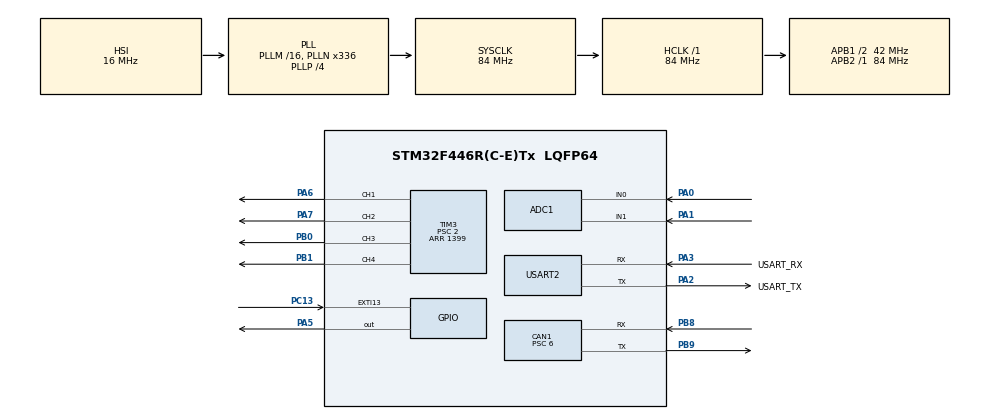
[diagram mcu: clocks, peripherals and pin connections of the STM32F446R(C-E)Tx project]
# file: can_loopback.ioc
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ADC1.Channel-0\#ChannelRegularConversion=ADC_CHANNEL_0
ADC1.Channel-1\#ChannelRegularConversion=ADC_CHANNEL_1
ADC1.NbrOfConversion=2
ADC1.NbrOfConversionFlag=1
ADC1.Rank-0\#ChannelRegularConversion=1
ADC1.Rank-1\#ChannelRegularConversion=2
ADC1.SamplingTime-0\#ChannelRegularConversion=ADC_SAMPLETIME_84CYCLES
ADC1.SamplingTime-1\#ChannelRegularConversion=ADC_SAMPLETIME_84CYCLES
ADC1.ScanConvMode=ENABLE
ADC1.master=1
CAN1.BS1=CAN_BS1_11TQ
CAN1.BS2=CAN_BS2_2TQ
CAN1.CalculateBaudRate=500000
CAN1.CalculateTimeBit=2000
CAN1.CalculateTimeQuantum=142.85714285714286
CAN1.Mode=CAN_MODE_NORMAL
CAN1.NART=ENABLE
CAN1.Prescaler=6
Mcu.Family=STM32F4
Mcu.Name=STM32F446R(C-E)Tx
Mcu.Package=LQFP64
NUCLEO-F446RE.BUTTON=1
NUCLEO-F446RE.LD1=true
NVIC.EXTI15_10_IRQn=true\:0\:0\:false\:false\:true\:false\:true\:true
NVIC.PriorityGroup=NVIC_PRIORITYGROUP_0
PA0-WKUP.Signal=ADCx_IN0
PA1.Signal=ADCx_IN1
PA13.GPIO_Label=TMS
PA13.Signal=SYS_JTMS-SWDIO
PA14.GPIO_Label=TCK
PA14.Signal=SYS_JTCK-SWCLK
PA2.GPIO_Label=USART_TX
PA2.Mode=Asynchronous
PA2.Signal=USART2_TX
PA3.GPIO_Label=USART_RX
PA3.Mode=Asynchronous
PA3.Signal=USART2_RX
PA5.Signal=GPIO_Output
PA6.Signal=S_TIM3_CH1
PA7.Signal=S_TIM3_CH2
PB0.Signal=S_TIM3_CH3
PB1.Signal=S_TIM3_CH4
PB3.GPIO_Label=SWO
PB3.Signal=SYS_JTDO-SWO
PB8.Mode=CAN_Activate
PB8.Signal=CAN1_RX
PB9.Mode=CAN_Activate
PB9.Signal=CAN1_TX
PC13.Signal=GPXTI13
PC14-OSC32_IN.Signal=RCC_OSC32_IN
PC15-OSC32_OUT.Signal=RCC_OSC32_OUT
PH0-OSC_IN.Signal=RCC_OSC_IN
PH1-OSC_OUT.Signal=RCC_OSC_OUT
ProjectManager.HeapSize=0x200
ProjectManager.StackSize=0x400
ProjectManager.TargetToolchain=STM32CubeIDE
RCC.AHBFreq_Value=84000000
RCC.APB1CLKDivider=RCC_HCLK_DIV2
RCC.APB1Freq_Value=42000000
RCC.APB1TimFreq_Value=84000000
RCC.APB2Freq_Value=84000000
RCC.APB2TimFreq_Value=84000000
RCC.CortexFreq_Value=84000000
RCC.FLatency-AdvancedSettings=FLASH_LATENCY_2
RCC.HCLKFreq_Value=84000000
RCC.HSE_VALUE=8000000
RCC.HSI_VALUE=16000000
RCC.LSE_VALUE=32768
RCC.PLLN=336
RCC.PLLP=RCC_PLLP_DIV4
RCC.SYSCLKFreq_VALUE=84000000
RCC.SYSCLKSource=RCC_SYSCLKSOURCE_PLLCLK
RCC.USBFreq_Value=168000000
RCC.VCOOutputFreq_Value=336000000
SH.ADCx_IN0.0=ADC1_IN0,IN0
SH.ADCx_IN1.0=ADC1_IN1,IN1
SH.S_TIM3_CH1.0=TIM3_CH1,PWM Generation1 CH1
SH.S_TIM3_CH2.0=TIM3_CH2,PWM Generation2 CH2
SH.S_TIM3_CH3.0=TIM3_CH3,PWM Generation3 CH3
SH.S_TIM3_CH4.0=TIM3_CH4,PWM Generation4 CH4
TIM3.Channel-PWM\ Generation1\ CH1=TIM_CHANNEL_1
TIM3.Channel-PWM\ Generation2\ CH2=TIM_CHANNEL_2
TIM3.Channel-PWM\ Generation3\ CH3=TIM_CHANNEL_3
TIM3.Channel-PWM\ Generation4\ CH4=TIM_CHANNEL_4
TIM3.Period=1399
TIM3.Prescaler=2
USART2.VirtualMode=VM_ASYNC
VP_NUCLEO-F446RE_VS_BSP_COMMON.Mode=COMMON
board=NUCLEO-F446RE

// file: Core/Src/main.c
/* USER CODE BEGIN Header */
/**
  ******************************************************************************
  * @file           : main.c
  * @brief          : Main program body
  ******************************************************************************
  * @attention
  *
  * Copyright (c) 2026 STMicroelectronics.
  * All rights reserved.
  *
  * This software is licensed under terms that can be found in the LICENSE file
  * in the root directory of this software component.
  * If no LICENSE file comes with this software, it is provided AS-IS.
  *
  ******************************************************************************
  */
/* USER CODE END Header */
#include "main.h"
#include <stdio.h>
#include <string.h>

/* USER CODE BEGIN PD */
#define ADC_AVG_SAMPLES 32U
#define PWM_ARR_VALUE   1399U
#define PI_KP            0.5f
#define PI_KI            0.1f
#define PI_INTEGRAL_MAX  10.0f
#define PI_DUTY_MIN      0.05f
#define PI_DUTY_MAX      0.95f
/* 1: PA1 observation only; all PWM stays at zero, no 0x200 telemetry.
 * 0: legacy potentiometer bench mode, NOT calibrated ACS758 control. */
#ifndef ADC_RAW_TEST_MODE
#define ADC_RAW_TEST_MODE 1U
#endif
#define ADC_TEST_VREF_MV  3300U
/* USER CODE END PD */

ADC_HandleTypeDef hadc1;

CAN_HandleTypeDef hcan1;

TIM_HandleTypeDef htim3;

UART_HandleTypeDef huart2;

/* USER CODE BEGIN PV */
CAN_RxHeaderTypeDef rxHeader;
uint8_t rxData[8];
char msg[128];
uint32_t last_heartbeat_tick;
uint8_t heartbeat_timeout_reported;
CAN_TxHeaderTypeDef feedbackHeader;
uint32_t feedbackMailbox;
uint8_t feedbackData[8];
uint8_t safe_mode = 0;
uint8_t fault_code = 0;
volatile int32_t pv_power_w = 0;
volatile float vbus_v = 24.0f;
volatile float ibus_a = 0.0f;
static float pi_integral = 0.0f;
static uint32_t last_pi_tick = 0;
/* USER CODE END PV */

void SystemClock_Config(void);
static void MX_GPIO_Init(void);
static void MX_CAN1_Init(void);
static void MX_USART2_UART_Init(void);
static void MX_ADC1_Init(void);
static void MX_TIM3_Init(void);

/* USER CODE BEGIN 0 */

static void Report_PA1_Raw(void)
{
  uint32_t sum = 0U;
  uint32_t minimum = 4095U;
  uint32_t maximum = 0U;
  uint32_t count = 0U;
  uint32_t errors = 0U;

  for (uint32_t i = 0U; i < ADC_AVG_SAMPLES; i++)
  {
    if (HAL_ADC_Start(&hadc1) != HAL_OK)
    {
      HAL_ADC_Stop(&hadc1);
      errors++;
      continue;
    }
    if (HAL_ADC_PollForConversion(&hadc1, 2U) != HAL_OK)
    {
      HAL_ADC_Stop(&hadc1);
      errors++;
      continue;
    }
    uint32_t raw = HAL_ADC_GetValue(&hadc1);
    if (HAL_ADC_Stop(&hadc1) != HAL_OK)
    {
      errors++;
      continue;
    }
    sum += raw;
    if (raw < minimum) minimum = raw;
    if (raw > maximum) maximum = raw;
    count++;
  }

  if (count == 0U)
  {
    snprintf(msg, sizeof(msg), "PA1 ADC_ERROR n=0 err=%lu safe=%u fault=%u\r\n",
             (unsigned long)errors, (unsigned int)safe_mode,
             (unsigned int)fault_code);
  }
  else
  {
    uint32_t average = (sum + count / 2U) / count;
    uint32_t denominator = count * 4095U;
    uint32_t millivolts = (sum * ADC_TEST_VREF_MV + denominator / 2U)
                         / denominator;
    snprintf(msg, sizeof(msg),
             "PA1 avg=%lu min=%lu max=%lu mV=%lu n=%lu err=%lu safe=%u fault=%u\r\n",
             (unsigned long)average, (unsigned long)minimum,
             (unsigned long)maximum, (unsigned long)millivolts,
             (unsigned long)count, (unsigned long)errors,
             (unsigned int)safe_mode, (unsigned int)fault_code);
  }
  HAL_UART_Transmit(&huart2, (uint8_t *)msg, (uint16_t)strlen(msg), 100U);
}

static void Read_Adc_Feedback(void)
{
  uint32_t vbus_raw;
  uint32_t ibus_raw;
  uint32_t vbus10;
  uint32_t ibus10;

  if (HAL_ADC_Start(&hadc1) != HAL_OK)
  {
    return;
  }

  if (HAL_ADC_PollForConversion(&hadc1, 2) != HAL_OK)
  {
    HAL_ADC_Stop(&hadc1);
    return;
  }
  vbus_raw = HAL_ADC_GetValue(&hadc1);

  if (HAL_ADC_PollForConversion(&hadc1, 2) != HAL_OK)
  {
    HAL_ADC_Stop(&hadc1);
    return;
  }
  ibus_raw = HAL_ADC_GetValue(&hadc1);
  HAL_ADC_Stop(&hadc1);

  /* PA0: 0-3.3 V is used as a 0-33.0 V simulated bus voltage. */
  vbus10 = (vbus_raw * 330U + 2047U) / 4095U;
  vbus_v = (float)vbus10 / 10.0f;
  if (vbus_v < 1.0f)
  {
    vbus_v = 1.0f;
  }

  /* PA1: 0-3.3 V is used as a 0-10.0 A simulated current. */
  ibus10 = (ibus_raw * 100U + 2047U) / 4095U;
  ibus_a = (float)ibus10 / 10.0f;
}

static void Update_Single_Channel_PI(void)
{
  uint32_t now;
  float target_current;
  float error;
  float duty;

  now = HAL_GetTick();
  if ((now - last_pi_tick) < 1U)
  {
    return;
  }
  last_pi_tick = now;

  Read_Adc_Feedback();

  if ((safe_mode != 0U) || (pv_power_w <= 0))
  {
    pi_integral = 0.0f;
    __HAL_TIM_SET_COMPARE(&htim3, TIM_CHANNEL_1, 0U);
    return;
  }

  target_current = (float)pv_power_w / vbus_v;
  if (target_current > 10.0f)
  {
    target_current = 10.0f;
  }

  error = target_current - ibus_a;
  pi_integral += error * 0.001f;
  if (pi_integral > PI_INTEGRAL_MAX)
  {
    pi_integral = PI_INTEGRAL_MAX;
  }
  if (pi_integral < -PI_INTEGRAL_MAX)
  {
    pi_integral = -PI_INTEGRAL_MAX;
  }

  duty = PI_KP * error + PI_KI * pi_integral;
  if (duty < PI_DUTY_MIN)
  {
    duty = PI_DUTY_MIN;
  }
  if (duty > PI_DUTY_MAX)
  {
    duty = PI_DUTY_MAX;
  }

  __HAL_TIM_SET_COMPARE(&htim3,
                        TIM_CHANNEL_1,
                        (uint32_t)(duty * (float)PWM_ARR_VALUE));
}

/* USER CODE END 0 */

int main(void)
{

  /* MCU Configuration--------------------------------------------------------*/

  /* Reset of all peripherals, Initializes the Flash interface and the Systick. */
  HAL_Init();

  /* Configure the system clock */
  SystemClock_Config();

  /* Initialize all configured peripherals */
  MX_GPIO_Init();
  MX_CAN1_Init();
  MX_USART2_UART_Init();
  MX_ADC1_Init();
  MX_TIM3_Init();
  /* USER CODE BEGIN 2 */
  last_heartbeat_tick = HAL_GetTick();
  heartbeat_timeout_reported = 0;
  CAN_FilterTypeDef filter = {0};

  filter.FilterBank = 0;
  filter.FilterMode = CAN_FILTERMODE_IDMASK;
  filter.FilterScale = CAN_FILTERSCALE_32BIT;
  filter.FilterIdHigh = 0;
  filter.FilterIdLow = 0;
  filter.FilterMaskIdHigh = 0;
  filter.FilterMaskIdLow = 0;
  filter.FilterFIFOAssignment = CAN_RX_FIFO0;
  filter.FilterActivation = ENABLE;
  filter.SlaveStartFilterBank = 14;

  if (HAL_CAN_ConfigFilter(&hcan1, &filter) != HAL_OK)
  {
    strcpy(msg, "FILTER ERROR\r\n");
    HAL_UART_Transmit(&huart2,
                      (uint8_t *)msg,
                      strlen(msg),
                      1000);
  }

  if (HAL_CAN_Start(&hcan1) != HAL_OK)
  {
    strcpy(msg, "CAN START ERROR\r\n");
    HAL_UART_Transmit(&huart2,
                      (uint8_t *)msg,
                      strlen(msg),
                      1000);
  }

  strcpy(msg, "RECEIVER READY\r\n");
  HAL_UART_Transmit(&huart2,
                    (uint8_t *)msg,
                    strlen(msg),
                    1000);

  HAL_TIM_PWM_Start(&htim3, TIM_CHANNEL_1);
  HAL_TIM_PWM_Start(&htim3, TIM_CHANNEL_2);
  HAL_TIM_PWM_Start(&htim3, TIM_CHANNEL_3);
  HAL_TIM_PWM_Start(&htim3, TIM_CHANNEL_4);

  __HAL_TIM_SET_COMPARE(&htim3, TIM_CHANNEL_1, 0);
  __HAL_TIM_SET_COMPARE(&htim3, TIM_CHANNEL_2, 0);
  __HAL_TIM_SET_COMPARE(&htim3, TIM_CHANNEL_3, 0);
  __HAL_TIM_SET_COMPARE(&htim3, TIM_CHANNEL_4, 0);
  if (ADC_RAW_TEST_MODE != 0U)
  {
    strcpy(msg, "ADC RAW TEST: PA1 only, Vref=3300mV assumed, PWM=OFF, 0x200=OFF\r\n");
    HAL_UART_Transmit(&huart2, (uint8_t *)msg, (uint16_t)strlen(msg), 100U);
  }
  /* USER CODE END 2 */

  /* Initialize leds */
  BSP_LED_Init(LED2);

  /* Initialize USER push-button, will be used to trigger an interrupt each time it's pressed.*/
  BSP_PB_Init(BUTTON_USER, BUTTON_MODE_EXTI);

  /* Infinite loop */
  while (1)
  {

    /* USER CODE BEGIN 3 */
	  static uint32_t last_200_tick = 0;
	 	  uint32_t now = HAL_GetTick();

	 	  now = HAL_GetTick();
	 	 if (safe_mode == 0)
	 	 {
	 	  // 原来的接收0x100、0x101、0x102代码
	 	  if (HAL_CAN_GetRxFifoFillLevel(&hcan1, CAN_RX_FIFO0) > 0)
	 	    {
	 	      if (HAL_CAN_GetRxMessage(&hcan1,
	 	                               CAN_RX_FIFO0,
	 	                               &rxHeader,
	 	                               rxData) == HAL_OK)
	 	      {
	 	        if (rxHeader.StdId == 0x100)
	 	        {

	 	          int16_t code_batt;
	 	          int16_t code_fc;
	 	          int16_t code_el;
	 	          int32_t p_batt;
	 	          int32_t p_fc;
	 	          int32_t p_el;

	 	          code_batt = (int16_t)(((uint16_t)rxData[0] << 8) | rxData[1]);
	 	          code_fc   = (int16_t)(((uint16_t)rxData[2] << 8) | rxData[3]);
	 	          code_el   = (int16_t)(((uint16_t)rxData[4] << 8) | rxData[5]);

	 	          p_batt = ((int32_t)code_batt * 200) / 30000;
	 	          p_fc   = ((int32_t)code_fc * 150) / 30000;
	 	          p_el   = ((int32_t)code_el * 200) / 30000;

	 	         int32_t batt_abs;
	 	         uint32_t ccr_batt;
	 	         uint32_t ccr_fc;

	 	        batt_abs = p_batt;

	 	        if (batt_abs < 0)
	 	        {
	 	          batt_abs = 0;
	 	        }

	 	         if (batt_abs > 200)
	 	         {
	 	           batt_abs = 200;
	 	         }

	 	         if (p_fc < 0)
	 	         {
	 	           p_fc = 0;
	 	         }

	 	         if (p_fc > 150)
	 	         {
	 	           p_fc = 150;
	 	         }

	 	         ccr_batt = ((uint32_t)batt_abs * 1399U) / 200U;
	 	         ccr_fc = ((uint32_t)p_fc * 1399U) / 150U;

	 	         /* CH2=燃料电池，CH3=电池 */
                 if (ADC_RAW_TEST_MODE == 0U)
                 {
                   __HAL_TIM_SET_COMPARE(&htim3,TIM_CHANNEL_2,ccr_fc);
                   __HAL_TIM_SET_COMPARE(&htim3,TIM_CHANNEL_3, ccr_batt);
                 }

	 	          snprintf(msg,
	 	                   sizeof(msg),
	 	                   "0x100 Batt=%ldW FC=%ldW EL=%ldW Seq=%u\r\n",
	 	                   (long)p_batt,
	 	                   (long)p_fc,
	 	                   (long)p_el,
	 	                   (unsigned int)rxData[7]);

	 	          HAL_UART_Transmit(&huart2,
	 	                            (uint8_t *)msg,
	 	                            strlen(msg),
	 	                            1000);
	 	        }
	 	        else if (rxHeader.StdId == 0x102)
	 	        {
	 	          int16_t code_pv;
	 	          int16_t code_wind;
	 	          int32_t p_pv;
	 	          int32_t p_wind;

	 	          code_pv = (int16_t)(((uint16_t)rxData[0] << 8) | rxData[1]);
	 	          code_wind = (int16_t)(((uint16_t)rxData[2] << 8) | rxData[3]);

	 	          p_pv = ((int32_t)code_pv * 300) / 30000;
	 	          p_wind = ((int32_t)code_wind * 200) / 30000;

	 	         if (p_pv < 0)
	 	         {
	 	           p_pv = 0;
	 	         }
	 	         if (p_pv > 300)
	 	         {
	 	           p_pv = 300;
	 	         }

	 	         if (p_wind < 0)
	 	         {
	 	           p_wind = 0;
	 	         }
	 	         if (p_wind > 200)
	 	         {
	 	           p_wind = 200;
	 	         }

	 	         /* 弃光、弃风标志 */
	 	         if (rxData[6] & 0x01)
	 	         {
	 	           p_pv = 0;
	 	         }

	 	         if (rxData[6] & 0x02)
	 	         {
	 	           p_wind = 0;
	 	         }

	 	        /* CH1=光伏，由单路PI控制；CH4=风电，暂时保持开环 */
	 	        pv_power_w = p_pv;
                if (ADC_RAW_TEST_MODE == 0U)
                {
                  __HAL_TIM_SET_COMPARE(&htim3,TIM_CHANNEL_4,((uint32_t)p_wind * 1399U) / 200U);
                }

	 	          snprintf(msg,
	 	                   sizeof(msg),
	 	                   "0x102 PV=%ldW Wind=%ldW Curt=0x%02X Seq=%u\r\n",
	 	                   (long)p_pv,
	 	                   (long)p_wind,
	 	                   (unsigned int)rxData[6],
	 	                   (unsigned int)rxData[7]);

	 	          HAL_UART_Transmit(&huart2,
	 	                            (uint8_t *)msg,
	 	                            strlen(msg),
	 	                            1000);
	 	        }
	 	        else if ((rxHeader.StdId == 0x101) &&
	 	                 (rxData[3] == 0xAA))
	 	        {
	 	        	last_heartbeat_tick = HAL_GetTick();
	 	        	heartbeat_timeout_reported = 0;

	 	        	safe_mode = 0;
	 	        	fault_code = 0;

	 	        	strcpy(msg, "HEARTBEAT OK\r\n");
	 	        	HAL_UART_Transmit(&huart2,
	 	        	                  (uint8_t *)msg,
	 	        	                  (uint16_t)strlen(msg),
	 	        	                  1000);
	 	        }

	 	      }
	 	    }
	 	}
	 	else
	 	{
	 	  __HAL_TIM_SET_COMPARE(&htim3, TIM_CHANNEL_1, 0);
	 	  __HAL_TIM_SET_COMPARE(&htim3, TIM_CHANNEL_2, 0);
	 	  __HAL_TIM_SET_COMPARE(&htim3, TIM_CHANNEL_3, 0);
	 	  __HAL_TIM_SET_COMPARE(&htim3, TIM_CHANNEL_4, 0);
	 	}

	 	/* 每约1ms运行一次单路PI：PA1反馈，PA6输出 */
        if (ADC_RAW_TEST_MODE == 0U)
        {
          Update_Single_Channel_PI();
        }

	 	// 0x200发送代码
	 	if ((now - last_200_tick) >= 250U)
	 	{
	 		last_200_tick = now;

            if (ADC_RAW_TEST_MODE != 0U)
            {
              Report_PA1_Raw();
            }
            else
            {
	 		uint32_t vbus_sum = 0;
	 		uint32_t ibus_sum = 0;
	 		uint32_t vbus_raw;
	 		uint32_t ibus_raw;
	 		uint32_t vbus10;
	 		uint32_t ibus10;
	 		int32_t vbus_code;
	 		int32_t ibus_code;
	 		uint32_t sample_count = 0;
	 		uint32_t i;

	 		for (i = 0; i < ADC_AVG_SAMPLES; i++)
	 		{
	 		  if (HAL_ADC_Start(&hadc1) != HAL_OK)
	 		  {
	 		    continue;
	 		  }

	 		  /* Rank 1：PA0，模拟母线电压 */
	 		  if (HAL_ADC_PollForConversion(&hadc1, 100) == HAL_OK)
	 		  {
	 		    vbus_sum += HAL_ADC_GetValue(&hadc1);
	 		  }
	 		  else
	 		  {
	 		    HAL_ADC_Stop(&hadc1);
	 		    continue;
	 		  }

	 		  /* Rank 2：PA1，模拟电流 */
	 		  if (HAL_ADC_PollForConversion(&hadc1, 100) == HAL_OK)
	 		  {
	 		    ibus_sum += HAL_ADC_GetValue(&hadc1);
	 		    sample_count++;
	 		  }

	 		  HAL_ADC_Stop(&hadc1);
	 		}

	 		if (sample_count == 0U)
	 		{
	 		  sample_count = 1U;
	 		}

	 		vbus_raw = vbus_sum / sample_count;
	 		ibus_raw = ibus_sum / sample_count;

	 		/* PA0：0~3.3V模拟0~33.0V */
	 		vbus10 = (vbus_raw * 330U + 2047U) / 4095U;
	 		vbus_code = (int32_t)vbus10 - 150;

	 		if (vbus_code < 0)
	 		{
	 		  vbus_code = 0;
	 		}

	 		if (vbus_code > 255)
	 		{
	 		  vbus_code = 255;
	 		}

	 		/*
	 		 * PA1：暂时模拟0~10.0A
	 		 * ibus10单位为0.1A
	 		 */
	 		ibus10 = (ibus_raw * 100U + 2047U) / 4095U;

	 		/*
	 		 * 0x200 Ibus_raw = round(Ibus * 5) + 127
	 		 */
	 		ibus_code = 127 + (int32_t)((ibus10 + 1U) / 2U);

	 		if (ibus_code < 0)
	 		{
	 		  ibus_code = 0;
	 		}

	 		if (ibus_code > 255)
	 		{
	 		  ibus_code = 255;
	 		}

	 	  feedbackHeader.StdId = 0x200;
	 	  feedbackHeader.ExtId = 0;
	 	  feedbackHeader.IDE = CAN_ID_STD;
	 	  feedbackHeader.RTR = CAN_RTR_DATA;
	 	  feedbackHeader.DLC = 8;
	 	  feedbackHeader.TransmitGlobalTime = DISABLE;

	 	  feedbackData[0] = 0x55;
	 	  feedbackData[1] = (uint8_t)vbus_code;
	 	  feedbackData[2] = (uint8_t)ibus_code;
	 	  feedbackData[3] = 0;
	 	  feedbackData[4] = 0;
	 	  feedbackData[5] = 50;

	 	  if (fault_code != 0U)
	 	  {
	 	    feedbackData[6] = 0x0A;
	 	  }
	 	  else
	 	  {
	 	    feedbackData[6] = 0x00;
	 	  }

	 	  feedbackData[7] = fault_code;

	 	  if (HAL_CAN_GetTxMailboxesFreeLevel(&hcan1) > 0)
	 	  {
	 	    HAL_CAN_AddTxMessage(&hcan1,
	 	                         &feedbackHeader,
	 	                         feedbackData,
	 	                         &feedbackMailbox);
	 	  }
            }
	 	}
	 	  // 原来的心跳超时检测
	 	 if ((HAL_GetTick() - last_heartbeat_tick > 1000U) &&
	 	     (heartbeat_timeout_reported == 0))
	 	 {
	 	   heartbeat_timeout_reported = 1;
	 	   safe_mode = 1;
	 	   fault_code = 5;

	 	   __HAL_TIM_SET_COMPARE(&htim3, TIM_CHANNEL_1, 0);
	 	   __HAL_TIM_SET_COMPARE(&htim3, TIM_CHANNEL_2, 0);
	 	   __HAL_TIM_SET_COMPARE(&htim3, TIM_CHANNEL_3, 0);
	 	   __HAL_TIM_SET_COMPARE(&htim3, TIM_CHANNEL_4, 0);

	 	   strcpy(msg, "HEARTBEAT TIMEOUT\r\n");

	 	   HAL_UART_Transmit(&huart2,
	 	                     (uint8_t *)msg,
	 	                     (uint16_t)strlen(msg),
	 	                     1000);
	 	 }

	 	    HAL_Delay(1);
  }
  /* USER CODE END 3 */
}

void SystemClock_Config(void)
{
  RCC_OscInitTypeDef RCC_OscInitStruct = {0};
  RCC_ClkInitTypeDef RCC_ClkInitStruct = {0};

  /** Configure the main internal regulator output voltage
  */
  __HAL_RCC_PWR_CLK_ENABLE();
  __HAL_PWR_VOLTAGESCALING_CONFIG(PWR_REGULATOR_VOLTAGE_SCALE3);

  /** Initializes the RCC Oscillators according to the specified parameters
  * in the RCC_OscInitTypeDef structure.
  */
  RCC_OscInitStruct.OscillatorType = RCC_OSCILLATORTYPE_HSI;
  RCC_OscInitStruct.HSIState = RCC_HSI_ON;
  RCC_OscInitStruct.HSICalibrationValue = RCC_HSICALIBRATION_DEFAULT;
  RCC_OscInitStruct.PLL.PLLState = RCC_PLL_ON;
  RCC_OscInitStruct.PLL.PLLSource = RCC_PLLSOURCE_HSI;
  RCC_OscInitStruct.PLL.PLLM = 16;
  RCC_OscInitStruct.PLL.PLLN = 336;
  RCC_OscInitStruct.PLL.PLLP = RCC_PLLP_DIV4;
  RCC_OscInitStruct.PLL.PLLQ = 2;
  RCC_OscInitStruct.PLL.PLLR = 2;
  if (HAL_RCC_OscConfig(&RCC_OscInitStruct) != HAL_OK)
  {
    Error_Handler();
  }

  /** Initializes the CPU, AHB and APB buses clocks
  */
  RCC_ClkInitStruct.ClockType = RCC_CLOCKTYPE_HCLK|RCC_CLOCKTYPE_SYSCLK
                              |RCC_CLOCKTYPE_PCLK1|RCC_CLOCKTYPE_PCLK2;
  RCC_ClkInitStruct.SYSCLKSource = RCC_SYSCLKSOURCE_PLLCLK;
  RCC_ClkInitStruct.AHBCLKDivider = RCC_SYSCLK_DIV1;
  RCC_ClkInitStruct.APB1CLKDivider = RCC_HCLK_DIV2;
  RCC_ClkInitStruct.APB2CLKDivider = RCC_HCLK_DIV1;

  if (HAL_RCC_ClockConfig(&RCC_ClkInitStruct, FLASH_LATENCY_2) != HAL_OK)
  {
    Error_Handler();
  }
}

static void MX_ADC1_Init(void)
{

  ADC_ChannelConfTypeDef sConfig = {0};

  /** Configure the global features of the ADC (Clock, Resolution, Data Alignment and number of conversion)
  */
  hadc1.Instance = ADC1;
  hadc1.Init.ClockPrescaler = ADC_CLOCK_SYNC_PCLK_DIV4;
  hadc1.Init.Resolution = ADC_RESOLUTION_12B;
  hadc1.Init.ScanConvMode = ENABLE;
  hadc1.Init.ContinuousConvMode = DISABLE;
  hadc1.Init.DiscontinuousConvMode = DISABLE;
  hadc1.Init.ExternalTrigConvEdge = ADC_EXTERNALTRIGCONVEDGE_NONE;
  hadc1.Init.ExternalTrigConv = ADC_SOFTWARE_START;
  hadc1.Init.DataAlign = ADC_DATAALIGN_RIGHT;
  hadc1.Init.NbrOfConversion = 2;
  hadc1.Init.DMAContinuousRequests = DISABLE;
  hadc1.Init.EOCSelection = ADC_EOC_SINGLE_CONV;
  if (HAL_ADC_Init(&hadc1) != HAL_OK)
  {
    Error_Handler();
  }

  /** Configure for the selected ADC regular channel its corresponding rank in the sequencer and its sample time.
  */
  sConfig.Channel = ADC_CHANNEL_0;
  sConfig.Rank = 1;
  sConfig.SamplingTime = ADC_SAMPLETIME_84CYCLES;
  if (HAL_ADC_ConfigChannel(&hadc1, &sConfig) != HAL_OK)
  {
    Error_Handler();
  }

  /** Configure for the selected ADC regular channel its corresponding rank in the sequencer and its sample time.
  */
  sConfig.Channel = ADC_CHANNEL_1;
  sConfig.Rank = 2;
  if (HAL_ADC_ConfigChannel(&hadc1, &sConfig) != HAL_OK)
  {
    Error_Handler();
  }
  /* USER CODE BEGIN ADC1_Init 2 */

  if (ADC_RAW_TEST_MODE != 0U)
  {
    /* A single rank avoids scan-register overwrite during polling.
     * Keep the CubeMX dual-channel setup above for the legacy bench mode. */
    hadc1.Init.ScanConvMode = DISABLE;
    hadc1.Init.NbrOfConversion = 1;
    if (HAL_ADC_Init(&hadc1) != HAL_OK)
    {
      Error_Handler();
    }
    sConfig.Channel = ADC_CHANNEL_1;
    sConfig.Rank = 1;
    if (HAL_ADC_ConfigChannel(&hadc1, &sConfig) != HAL_OK)
    {
      Error_Handler();
    }
  }

  /* USER CODE END ADC1_Init 2 */

}

static void MX_CAN1_Init(void)
{

  hcan1.Instance = CAN1;
  hcan1.Init.Prescaler = 6;
  hcan1.Init.Mode = CAN_MODE_NORMAL;
  hcan1.Init.SyncJumpWidth = CAN_SJW_1TQ;
  hcan1.Init.TimeSeg1 = CAN_BS1_11TQ;
  hcan1.Init.TimeSeg2 = CAN_BS2_2TQ;
  hcan1.Init.TimeTriggeredMode = DISABLE;
  hcan1.Init.AutoBusOff = DISABLE;
  hcan1.Init.AutoWakeUp = DISABLE;
  hcan1.Init.AutoRetransmission = ENABLE;
  hcan1.Init.ReceiveFifoLocked = DISABLE;
  hcan1.Init.TransmitFifoPriority = DISABLE;
  if (HAL_CAN_Init(&hcan1) != HAL_OK)
  {
    Error_Handler();
  }

}

static void MX_TIM3_Init(void)
{

  TIM_MasterConfigTypeDef sMasterConfig = {0};
  TIM_OC_InitTypeDef sConfigOC = {0};

  htim3.Instance = TIM3;
  htim3.Init.Prescaler = 2;
  htim3.Init.CounterMode = TIM_COUNTERMODE_UP;
  htim3.Init.Period = 1399;
  htim3.Init.ClockDivision = TIM_CLOCKDIVISION_DIV1;
  htim3.Init.AutoReloadPreload = TIM_AUTORELOAD_PRELOAD_DISABLE;
  if (HAL_TIM_PWM_Init(&htim3) != HAL_OK)
  {
    Error_Handler();
  }
  sMasterConfig.MasterOutputTrigger = TIM_TRGO_RESET;
  sMasterConfig.MasterSlaveMode = TIM_MASTERSLAVEMODE_DISABLE;
  if (HAL_TIMEx_MasterConfigSynchronization(&htim3, &sMasterConfig) != HAL_OK)
  {
    Error_Handler();
  }
  sConfigOC.OCMode = TIM_OCMODE_PWM1;
  sConfigOC.Pulse = 0;
  sConfigOC.OCPolarity = TIM_OCPOLARITY_HIGH;
  sConfigOC.OCFastMode = TIM_OCFAST_DISABLE;
  if (HAL_TIM_PWM_ConfigChannel(&htim3, &sConfigOC, TIM_CHANNEL_1) != HAL_OK)
  {
    Error_Handler();
  }
  if (HAL_TIM_PWM_ConfigChannel(&htim3, &sConfigOC, TIM_CHANNEL_2) != HAL_OK)
  {
    Error_Handler();
  }
  if (HAL_TIM_PWM_ConfigChannel(&htim3, &sConfigOC, TIM_CHANNEL_3) != HAL_OK)
  {
    Error_Handler();
  }
  if (HAL_TIM_PWM_ConfigChannel(&htim3, &sConfigOC, TIM_CHANNEL_4) != HAL_OK)
  {
    Error_Handler();
  }
  HAL_TIM_MspPostInit(&htim3);

}

static void MX_USART2_UART_Init(void)
{

  huart2.Instance = USART2;
  huart2.Init.BaudRate = 115200;
  huart2.Init.WordLength = UART_WORDLENGTH_8B;
  huart2.Init.StopBits = UART_STOPBITS_1;
  huart2.Init.Parity = UART_PARITY_NONE;
  huart2.Init.Mode = UART_MODE_TX_RX;
  huart2.Init.HwFlowCtl = UART_HWCONTROL_NONE;
  huart2.Init.OverSampling = UART_OVERSAMPLING_16;
  if (HAL_UART_Init(&huart2) != HAL_OK)
  {
    Error_Handler();
  }

}

static void MX_GPIO_Init(void)
{

  /* GPIO Ports Clock Enable */
  __HAL_RCC_GPIOC_CLK_ENABLE();
  __HAL_RCC_GPIOH_CLK_ENABLE();
  __HAL_RCC_GPIOA_CLK_ENABLE();
  __HAL_RCC_GPIOB_CLK_ENABLE();

}

void Error_Handler(void)
{
  __disable_irq();
  while (1)
  {
  }
}
